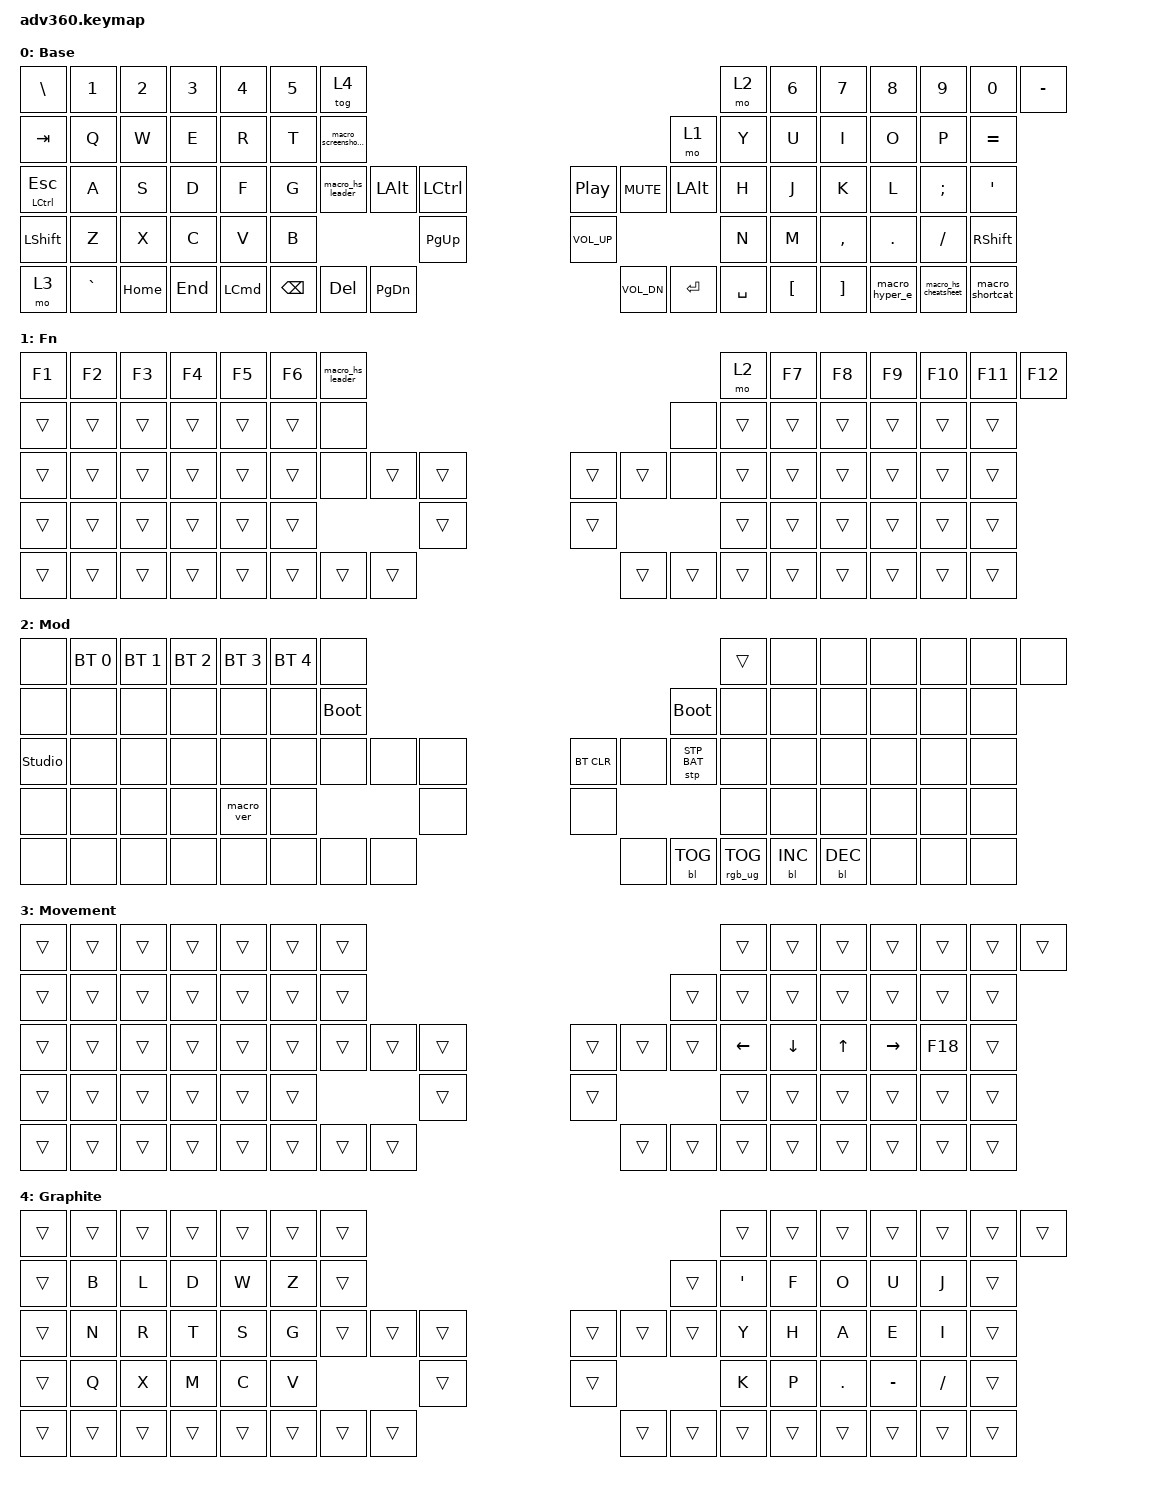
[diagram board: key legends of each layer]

/*
 * Copyright (c) 2020 The ZMK Contributors
 *
 * SPDX-License-Identifier: MIT
 */


/* THIS FILE WAS GENERATED!
 *
 * This file was generated automatically. You may or may not want to
 * edit it directly.
 */

#include <behaviors.dtsi>
#include <dt-bindings/zmk/keys.h>
#include <dt-bindings/zmk/bt.h>
#include <dt-bindings/zmk/rgb.h>
#include <dt-bindings/zmk/stp.h>
#include <dt-bindings/zmk/backlight.h>
#include <dt-bindings/zmk/pointing.h>

/ {
  behaviors {
    #include "macros.dtsi"
    #include "version.dtsi"

    hm: homerow_mods {
        compatible = "zmk,behavior-hold-tap";
        label = "HOMEROW_MODS";
        #binding-cells = <2>;
        tapping-term-ms = <200>;
        quick_tap_ms = <175>;
        flavor = "tap-preferred";
        bindings = <&kp>, <&kp>;
    };
  };

    keymap {
        compatible = "zmk,keymap";


        default_layer {
            display-name = "Base";
            bindings = <
                &kp BSLH     &kp N1    &kp N2   &kp N3            &kp N4  &kp N5                            &tog 4                                                                                &mo 2  &kp N6    &kp N7     &kp N8      &kp N9             &kp N0  &kp MINUS
                 &kp TAB      &kp Q     &kp W    &kp E             &kp R   &kp T            &macro_screenshot_rect                                                                                &mo 1   &kp Y     &kp U      &kp I       &kp O              &kp P  &kp EQUAL
 &mt LEFT_CONTROL ESCAPE      &kp A     &kp S    &kp D             &kp F   &kp G            &macro_hs_leader  &kp LEFT_ALT  &kp LCTRL                  &kp C_PLAY_PAUSE  &kp C_MUTE  &kp LEFT_ALT   &kp H     &kp J      &kp K       &kp L           &kp SEMI    &kp SQT
               &kp LSHFT      &kp Z     &kp X    &kp C             &kp V   &kp B                                                  &kp PG_UP                      &kp C_VOL_UP                             &kp N     &kp M  &kp COMMA     &kp DOT           &kp FSLH  &kp RSHFT
                   &mo 3  &kp GRAVE  &kp HOME  &kp END  &kp LEFT_COMMAND                                  &kp BSPC       &kp DEL  &kp PG_DN                      &kp C_VOL_DN   &kp ENTER     &kp SPACE          &kp LBKT   &kp RBKT  &macro_hyper_e  &macro_hs_cheatsheet     &macro_shortcat
            >;
        };

        layer_fn {
            display-name = "Fn";
            bindings = <
 &kp F1  &kp F2  &kp F3  &kp F4  &kp F5  &kp F6            &macro_hs_leader                                                   &mo 2  &kp F7  &kp F8  &kp F9  &kp F10  &kp F11  &kp F12
 &trans  &trans  &trans  &trans  &trans  &trans             &none                                                   &none  &trans  &trans  &trans   &trans   &trans   &trans
 &trans  &trans  &trans  &trans  &trans  &trans             &none  &trans  &trans                  &trans  &trans   &none  &trans  &trans  &trans   &trans   &trans   &trans
 &trans  &trans  &trans  &trans  &trans  &trans                            &trans                  &trans                  &trans  &trans  &trans   &trans   &trans   &trans
 &trans  &trans  &trans  &trans  &trans                    &trans  &trans  &trans                  &trans  &trans  &trans          &trans  &trans   &trans   &trans   &trans
            >;
        };

        layer_mod {
            display-name = "Mod";
            bindings = <
  &none  &bt BT_SEL 0  &bt BT_SEL 1  &bt BT_SEL 2  &bt BT_SEL 3  &bt BT_SEL 4                  &none                                                                          &trans   &none       &none       &none   &none   &none   &none
  &none         &none         &none         &none         &none         &none            &bootloader                                                                     &bootloader   &none       &none       &none   &none   &none   &none
  &studio_unlock &none        &none         &none         &none         &none                  &none   &none   &none                  &bt BT_CLR       &none  &stp STP_BAT   &none       &none       &none   &none   &none   &none
  &none         &none         &none         &none    &macro_ver         &none                                  &none                       &none                                       &none       &none       &none   &none   &none   &none
  &none         &none         &none         &none         &none                                &none   &none   &none                       &none  &bl BL_TOG         &rgb_ug RGB_TOG          &bl BL_INC  &bl BL_DEC   &none   &none   &none
            >;
        };

        layer_movement {
            display-name = "Movement";
            bindings = <
 &trans  &trans  &trans  &trans  &trans  &trans            &trans                                                  &trans    &trans    &trans  &trans     &trans  &trans  &trans
 &trans  &trans  &trans  &trans  &trans  &trans            &trans                                                  &trans    &trans    &trans  &trans     &trans  &trans  &trans
 &trans  &trans  &trans  &trans  &trans  &trans            &trans  &trans  &trans                  &trans  &trans  &trans  &kp LEFT  &kp DOWN  &kp UP  &kp RIGHT  &kp F18  &trans
 &trans  &trans  &trans  &trans  &trans  &trans                            &trans                  &trans                    &trans    &trans  &trans     &trans  &trans  &trans
 &trans  &trans  &trans  &trans  &trans                    &trans  &trans  &trans                  &trans  &trans  &trans              &trans  &trans     &trans  &trans  &trans
            >;
        };

        layer_graphite {
            display-name = "Graphite";
            bindings = <
 &trans  &trans  &trans  &trans  &trans  &trans            &trans                                                  &trans  &trans  &trans     &trans   &trans         &trans  &trans
 &trans   &kp B   &kp L   &kp D   &kp W   &kp Z            &trans                                                  &trans   &kp SQT   &kp F      &kp O    &kp U  &kp J  &trans
 &trans   &kp N   &kp R   &kp T   &kp S   &kp G            &trans  &trans  &trans                  &trans  &trans  &trans   &kp Y   &kp H      &kp A    &kp E          &kp I  &trans
 &trans   &kp Q   &kp X   &kp M   &kp C   &kp V                            &trans                  &trans                   &kp K   &kp P  &kp DOT  &kp MINUS      &kp SLASH  &trans
 &trans  &trans  &trans  &trans  &trans                    &trans  &trans  &trans                  &trans  &trans  &trans          &trans     &trans   &trans         &trans  &trans
            >;
        };

        extra1 {
            display-name = "Red";
            status = "reserved";
        };

        extra2 {
            display-name = "Purple";
            status = "reserved";
        };

        extra3 {
            display-name = "Cyan";
            status = "reserved";
        };

        extra4 {
            display-name = "Yellow";
            status = "reserved";
        };

    };
};
